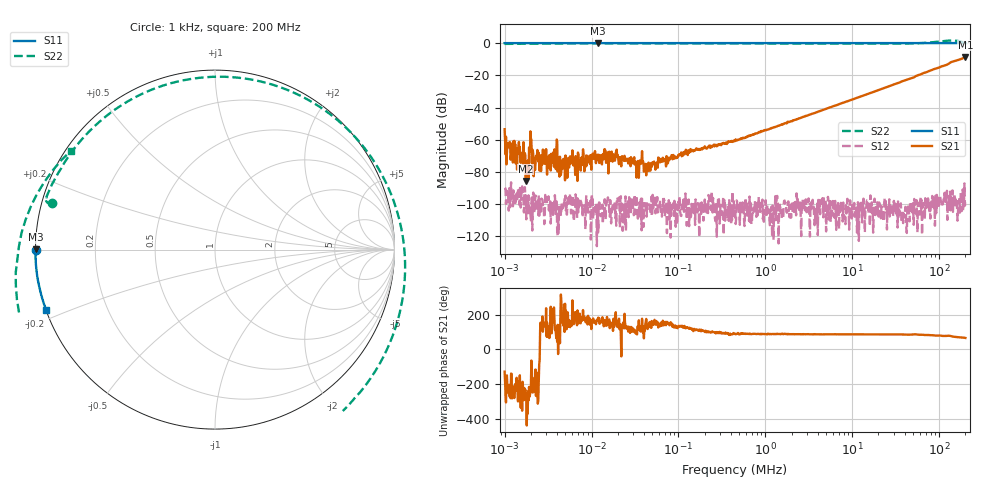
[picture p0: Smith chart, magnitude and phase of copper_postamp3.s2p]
! ListType=Log
# MHZ S RI R 50
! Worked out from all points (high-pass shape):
!   1000 points, 1 kHz to 200 MHz, reference 50 ohm
!   highest |S21| = -8.66 dB at 200 MHz (marker M1); lowest = -85.6 dB at 1.754 kHz (marker M2)
!   |S21| within 3 dB of the highest: 139.4 MHz to end of sweep
!   lowest |S11| = 0.0 dB at 11.95 kHz (marker M3), VSWR 756.10, Z = 0.0661 + j0.0257 ohm
!   |S11| at or under -10 dB: nowhere
!   |S22| runs from -0.5 to 1.7 dB; largest |S21 - S12| = 0.37
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0.001  -0.9993 0.000417  -0.00132 -0.00168  -1.15e-05 -2.99e-05  -0.9089 0.26
0.0011162  -0.9994 -0.00118  -0.000315 0.00057  -5.6e-06 3e-06  -0.9121 0.2584
0.0017542  -0.9992 -0.000463  -1.71e-05 4.97e-05  7.1e-06 1.75e-05  -0.9226 0.2572
0.0020313  -0.9996 -0.000375  0.00045 -0.000922  7.2e-06 7.6e-06  -0.9262 0.2582
0.0021858  -0.9993 -0.000486  -0.00017 0.000213  -2.6e-06 -4.4e-06  -0.9279 0.2587
0.0037878  -0.9996 -5.39e-05  -0.000102 0.000239  9e-07 -1.91e-05  -0.9375 0.266
0.0043327  -0.9997 -1.32e-05  0.000242 0.000174  -3.5e-06 -4.2e-06  -0.939 0.2683
0.0076941  -0.9995 -0.000116  -0.000287 -2e-07  -2.1e-06 8.4e-06  -0.9422 0.2759
0.011945  -0.9974 0.00103  -0.000328 -1.84e-05  -1.2e-06 6e-07  -0.9435 0.2782
0.0420474  -0.9996 -9.18e-05  -0.000169 5.88e-05  -3.2e-06 -5.9e-06  -0.9413 0.2868
0.0584804  -0.9997 -2.45e-05  -0.000168 0.000225  1.1e-06 -7.5e-06  -0.9406 0.2882
0.4499541  -0.9997 -0.000861  1.39e-05 0.000935  1.8e-06 7.1e-06  -0.9349 0.303
3.419952  -1 -0.00628  0.000333 0.00635  -1.8e-06 -7.2e-06  -0.8867 0.4028
12.03851  -1 -0.0214  0.00123 0.0213  -7.5e-06 -3e-07  -0.7122 0.6466
26.31347  -0.9997 -0.0461  0.00284 0.0456  3.6e-06 -3.5e-06  -0.3118 0.9064
50.9003  -0.9973 -0.0881  0.00551 0.0861  -1e-07 -2.3e-06  0.4925 0.8486
81.97236  -0.9913 -0.1411  0.0204 0.1441  5.3e-06 -7.1e-06  1.057 -0.0223
103.3922  -0.9854 -0.1772  0.0324 0.1807  -9.6e-06 -1.12e-05  0.8402 -0.7545
128.8255  -0.9761 -0.2192  0.0443 0.2261  -1.25e-05 -1.01e-05  0.0311 -1.195
145.5678  -0.9695 -0.247  0.0767 0.2603  5.8e-06 -1.22e-05  -0.5687 -1.06
164.4859  -0.9607 -0.2773  0.1 0.2819  4.6e-06 -3.3e-06  -1.028 -0.5582
200  -0.9418 -0.3351  0.1493 0.3375  -1.29e-05 -6.6e-06  -0.8026 0.5506
